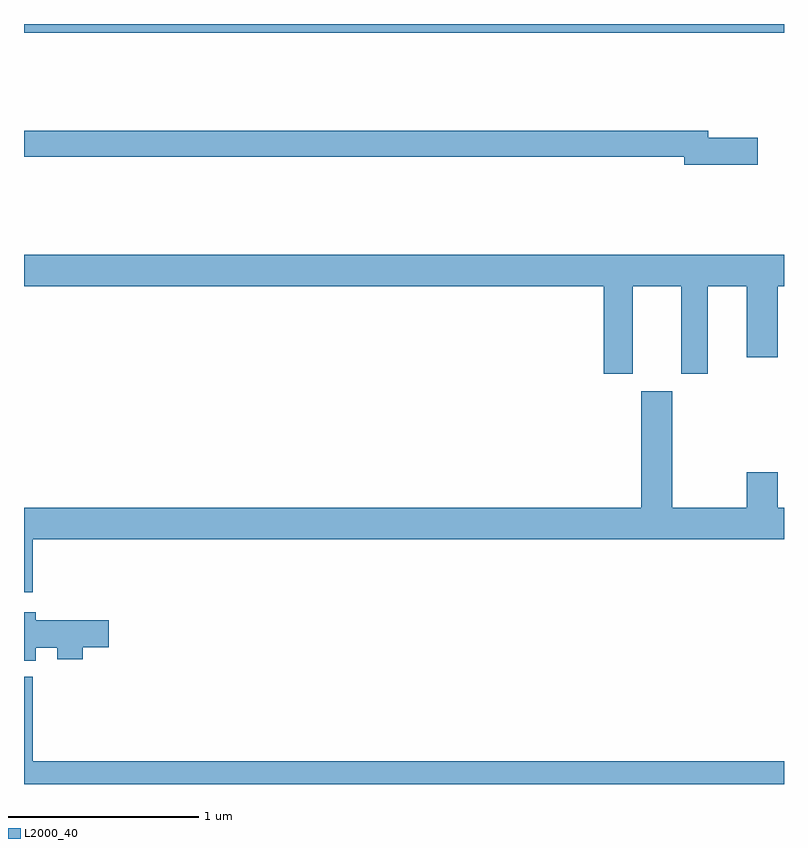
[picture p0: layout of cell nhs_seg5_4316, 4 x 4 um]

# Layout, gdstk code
import gdstk
lib = gdstk.Library(unit=1e-6, precision=1e-09)
def R(c, l, rs):  # rectangles x0, y0, x1, y1
    for r in rs: c.add(gdstk.rectangle(r[:2], r[2:], *l))
def P(c, l, *ps):  # polygons
    for p in ps: c.add(gdstk.Polygon(p, *l))
L2000_40 = (2000, 40)

nhs_seg5_4316 = lib.new_cell('nhs_seg5_4316')
R(nhs_seg5_4316, L2000_40, [(365,864.752,369,864.799)])
P(nhs_seg5_4316, L2000_40, [(368.863,864.2),(368.602,864.2),(368.602,864.236),(365,864.236),(365,864.1),(368.474,864.1),(368.474,864.058),(368.863,864.058)],
  [(368.203,863.42),(368.459,863.42),(368.459,862.959),(368.599,862.959),(368.599,863.42),(368.804,863.42),(368.804,863.046),(368.968,863.046),(368.968,863.42),(369,863.42),(369,863.584),(365,863.584),(365,863.42),(368.051,863.42),(368.051,862.959),(368.203,862.959)],
  [(365.047,862.088),(369,862.088),(369,862.252),(368.968,862.252),(368.968,862.441),(368.804,862.441),(368.804,862.252),(368.413,862.252),(368.413,862.867),(368.249,862.867),(368.249,862.252),(365,862.252),(365,861.807),(365.047,861.807)],
  [(365.062,861.515),(365.174,861.515),(365.174,861.455),(365.309,861.455),(365.309,861.518),(365.446,861.518),(365.446,861.66),(365.062,861.66),(365.062,861.703),(365,861.703),(365,861.449),(365.062,861.449)],
  [(369,860.92),(365.047,860.92),(365.047,861.364),(365,861.364),(365,860.799),(369,860.799)])

lib.write_gds('nhs_seg5_4316.gds')
